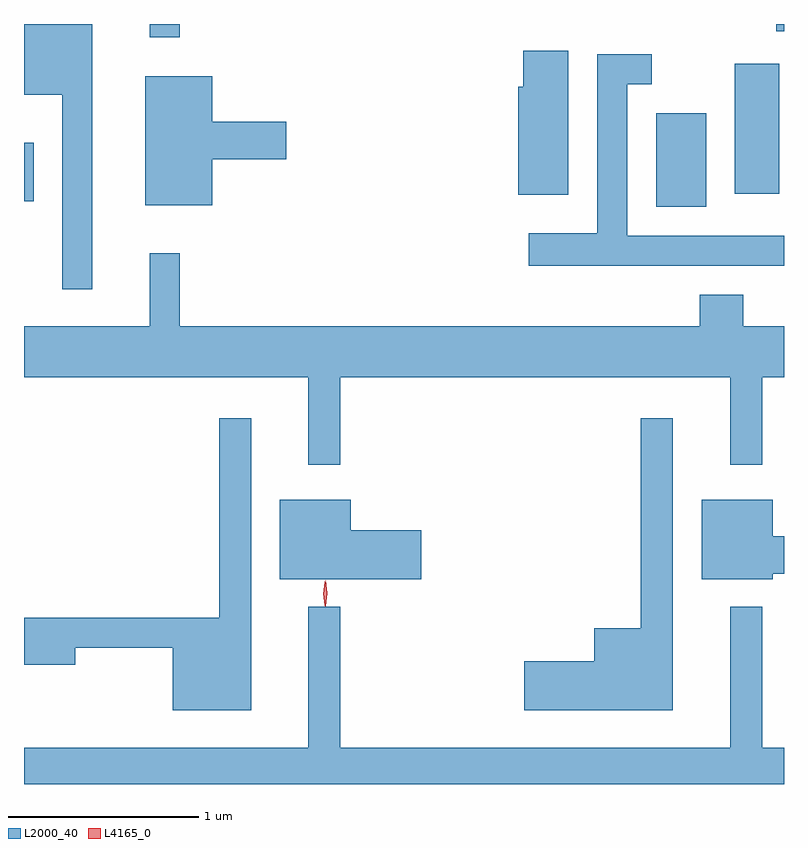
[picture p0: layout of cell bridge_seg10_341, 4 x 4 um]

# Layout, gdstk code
import gdstk
lib = gdstk.Library(unit=1e-6, precision=1e-09)
def R(c, l, rs):  # rectangles x0, y0, x1, y1
    for r in rs: c.add(gdstk.rectangle(r[:2], r[2:], *l))
def P(c, l, *ps):  # polygons
    for p in ps: c.add(gdstk.Polygon(p, *l))
L2000_40 = (2000, 40)
L4165_0 = (4165, 0)

bridge_seg10_341 = lib.new_cell('bridge_seg10_341')
R(bridge_seg10_341, L2000_40, [(1260.501,2156.991,1260.764,2157.484), (1257.174,2157.021,1257.224,2157.329), (1260.916,2157.061,1261.149,2157.744), (1257.836,2157.883,1257.994,2157.954), (1261.133,2157.916,1261.174,2157.954)])
P(bridge_seg10_341, L2000_40, [(1257.534,2157.954),(1257.174,2157.954),(1257.174,2157.581),(1257.376,2157.581),(1257.376,2156.558),(1257.534,2156.558)],
  [(1260.039,2157.814),(1259.801,2157.814),(1259.801,2157.624),(1259.776,2157.624),(1259.776,2157.056),(1260.039,2157.056)],
  [(1261.174,2156.839),(1260.349,2156.839),(1260.349,2157.636),(1260.478,2157.636),(1260.478,2157.794),(1260.191,2157.794),(1260.191,2156.854),(1259.831,2156.854),(1259.831,2156.681),(1261.174,2156.681)],
  [(1258.164,2157.241),(1258.554,2157.241),(1258.554,2157.439),(1258.164,2157.439),(1258.164,2157.679),(1257.811,2157.679),(1257.811,2157.001),(1258.164,2157.001)],
  [(1258.839,2156.096),(1260.891,2156.096),(1260.891,2155.633),(1261.059,2155.633),(1261.059,2156.096),(1261.174,2156.096),(1261.174,2156.364),(1260.959,2156.364),(1260.959,2156.529),(1260.731,2156.529),(1260.731,2156.364),(1257.994,2156.364),(1257.994,2156.748),(1257.836,2156.748),(1257.836,2156.364),(1257.174,2156.364),(1257.174,2156.096),(1258.671,2156.096),(1258.671,2155.633),(1258.839,2155.633)],
  [(1260.589,2155.878),(1260.421,2155.878),(1260.421,2154.774),(1260.176,2154.774),(1260.176,2154.599),(1259.806,2154.599),(1259.806,2154.341),(1260.589,2154.341)],
  [(1258.369,2155.878),(1258.201,2155.878),(1258.201,2154.829),(1257.174,2154.829),(1257.174,2154.581),(1257.444,2154.581),(1257.444,2154.671),(1257.956,2154.671),(1257.956,2154.341),(1258.369,2154.341)],
  [(1259.264,2155.289),(1258.894,2155.289),(1258.894,2155.449),(1258.521,2155.449),(1258.521,2155.031),(1259.264,2155.031)],
  [(1261.114,2155.061),(1261.174,2155.061),(1261.174,2155.259),(1261.114,2155.259),(1261.114,2155.449),(1260.741,2155.449),(1260.741,2155.031),(1261.114,2155.031)],
  [(1261.174,2154.144),(1261.059,2154.144),(1261.059,2154.888),(1260.891,2154.888),(1260.891,2154.144),(1258.839,2154.144),(1258.839,2154.888),(1258.671,2154.888),(1258.671,2154.144),(1257.174,2154.144),(1257.174,2153.954),(1261.174,2153.954)])
P(bridge_seg10_341, L4165_0, [(1258.76,2154.89),(1258.76,2154.89),(1258.751,2154.958),(1258.762,2155.026),(1258.762,2155.026),(1258.762,2155.026),(1258.771,2154.958),(1258.761,2154.89)],
  [(1258.758,2154.893),(1258.757,2154.894),(1258.748,2154.956),(1258.757,2155.019),(1258.758,2155.02),(1258.758,2155.019),(1258.768,2154.956),(1258.758,2154.894)])

lib.write_gds('bridge_seg10_341.gds')
